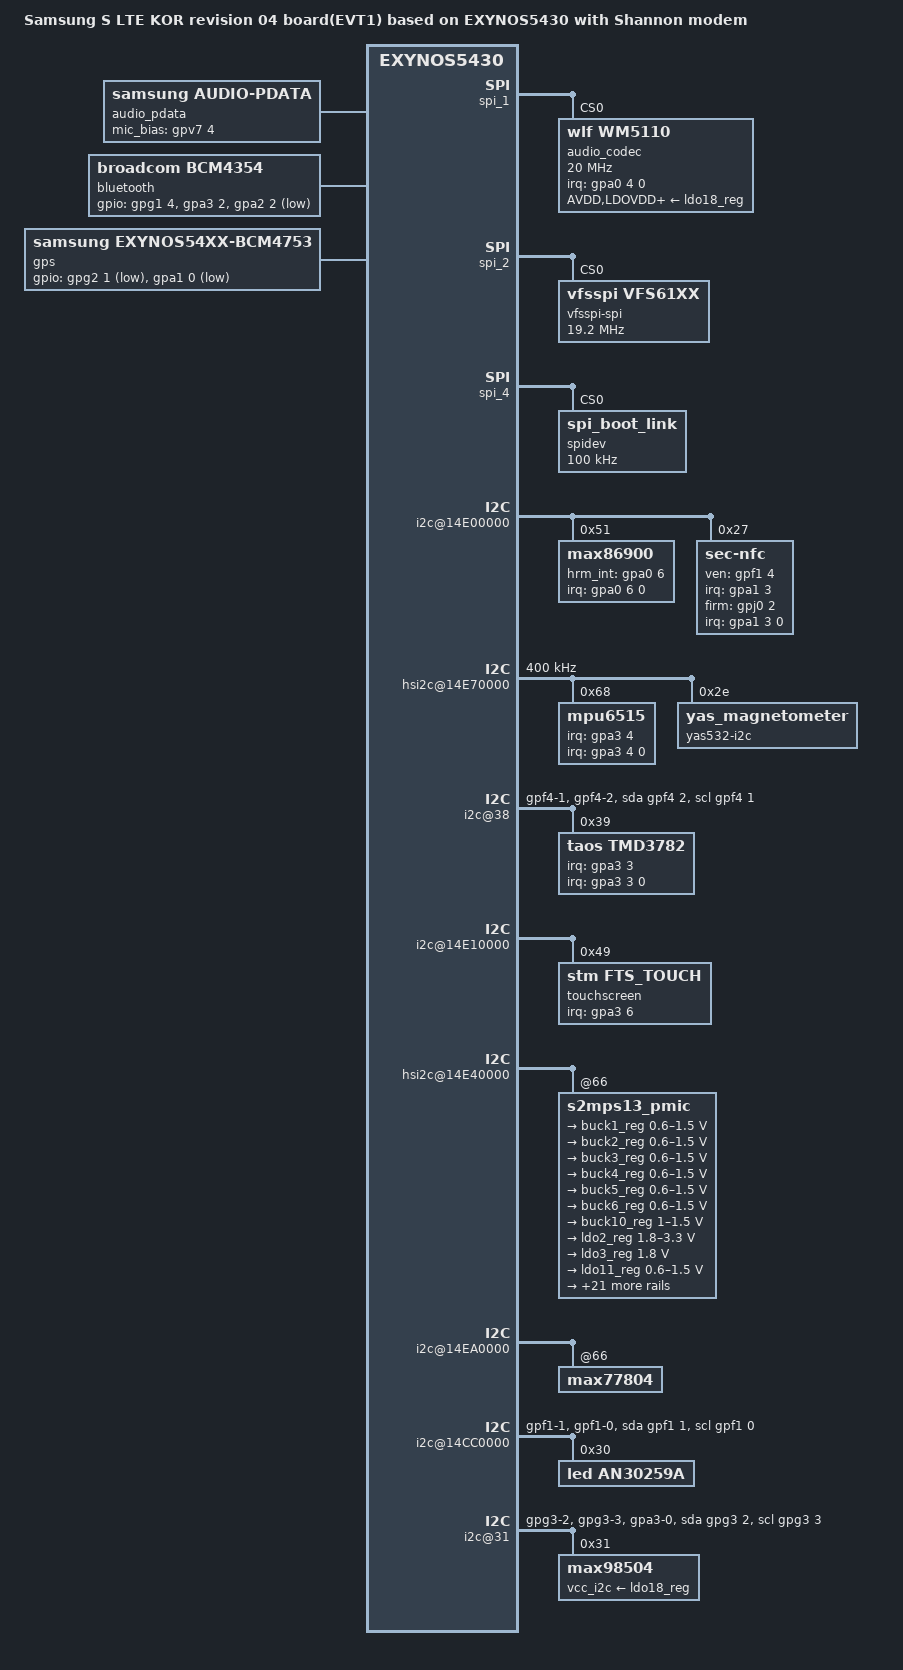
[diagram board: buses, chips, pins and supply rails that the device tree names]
/*
 * SAMSUNG UNIVERSAL5430 board device tree source
 *
 * Copyright (c) 2013 Samsung Electronics Co., Ltd.
 *		http://www.samsung.com
 *
 * This program is free software; you can redistribute it and/or modify
 * it under the terms of the GNU General Public License version 2 as
 * published by the Free Software Foundation.
*/

/dts-v1/;
#include "exynos5430-s_common.dtsi"
#include "exynos5430-s_gpio_03.dtsi"
#include "exynos5430-s_battery.dtsi"
#include "exynos5430-s_kor_gpio_01.dtsi"
#include "exynos5430-s_kor-modem-ss300.dtsi"

/ {
	model = "Samsung S LTE KOR revision 04 board(EVT1) based on EXYNOS5430 with Shannon modem";
	model_info-chip = <5430>;
	model_info-platform = "slte";
	model_info-subtype = "slte_kor_open";
	model_info-hw_rev = <7>;
	model_info-hw_rev_end = <8>; /* If add new dts file for new hw , it is set to <x>. x is suppored max system revision by this dts */
	compatible = "samsung,S LTE KOR,r04", "samsung,exynos5430";

	dwmmc2@15560000 {
		supports-sdr104-mode;
		vmmc-en-gpio = <&gpf3 4 0x1>;
	};

	pinctrl@14CC0000 {
		mpu_irq: mpu_irq {
			samsung,pins = "gpa3-4";
			samsung,pin-function = <0>;
			samsung,pin-con-pdn = <0>;
			samsung,pin-pud-pdn = <0>;
		};
		uart1_bus: uart1-bus {
			samsung,pins = "gpd1-1", "gpd1-0";
			samsung,pin-function = <2>;
			samsung,pin-pud = <1>;
		};
	};

	pinctrl@14CC0000 {
		spi0_bus: spi0-bus {
			samsung,pin-drv = <3>;
		};
		spi0_cs: spi0-cs {
			samsung,pin-drv = <3>;
		};
	};

	spi_0: spi@14d20000 {
		#address-cells = <1>;
		#size-cells = <0>;
		pinctrl-names = "default";
		pinctrl-0 = <&spi0_bus>;
		pinctrl-1 = <&spi0_cs>;
	};

	spi_1: spi@14d30000 {
		#address-cells = <1>;
		#size-cells = <0>;
		pinctrl-names = "default";
		pinctrl-0 = <&spi1_bus>;

		audio_codec: wm5110@0 {
			compatible = "wlf,wm5110";
			reg = <0x0>;
			spi-max-frequency = <20000000>;
			interrupts = <4 0 0>;
			interrupt-parent = <&gpa0>;

			gpio-controller;
			#gpio-cells = <2>;

			pinctrl-names ="default";
			pinctrl-0 = <&codec_ctrl &codec_irq>;

			wlf,reset = <&gpv7 3 0>;
			wlf,ldoena = <&gpf0 0 0>;
			wlf,init-mic-delay = <30>;
			wlf,micd-detect-debounce = <300>;
			wlf,micd-pol-gpio = <0>;
			wlf,micd-bias-start-time = <0x1>;
			wlf,micd-rate = <0x7>;
			wlf,micd-dbtime = <0x1>;
			wlf,micd-timeout = <1000>;
			wlf,micd-force-micbias;
			wlf,hpdet-moisture-imp = <2000>;
			wlf,hpdet-channel = <1>;
			wlf,hpdet-ext-res = <56>;
			wlf,hpdet-short-circuit-imp = <3>;
			wlf,micd-ranges = <
				139 226
				295 115
				752 114
				1257 217
			>;

			wlf,micd-configs = <
				0x0 1 0
			>;

			wlf,micbias1 = <2800 0 1 0 0>;
			wlf,micbias2 = <1800 0 1 0 0>;
			wlf,micbias3 = <1800 0 1 0 0>;

			wlf,gpio-defaults = <
				0xA101
				0xA101
				0xA101
				0xA101
				0x8101
			>;

			wlf,gpsw = <0x3>;
			wlf,use-jd-gpio;
			wlf,jd-gpio-nopull;
			wlf,micd-software-compare;
			wlf,micd-open-circuit-declare = <1>;
			wlf,jd-wake-time = <5000>;

			wlf,max-channels-clocked = <2 0 0>;
			/* 0:MICVDD 1:MICBIAS1 2:MICBIAS2 3:MICBIAS3 */
			wlf,dmic-ref = <0 1 3 0>;
			/* 1st cell:IN1 2rd cell:IN2 3nd cell:IN3 4th cell:IN4 */
			wlf,inmode = <0 0 0 2>;
			/* 1st cell:OUT1 2nd cell:OUT2 3rd cell:OUT3... 6th cell:OUT6 */
			wlf,out-mono = <0 1 1 0 0 0>;

			AVDD-supply = <&ldo18_reg>;
			LDOVDD-supply = <&ldo18_reg>;
			DBVDD1-supply = <&ldo18_reg>;

			CPVDD-supply = <&ldo18_reg>;
			DBVDD2-supply = <&ldo18_reg>;
			DBVDD3-supply = <&ldo18_reg>;
			SPKVDDL-supply = <&ldo18_reg>;
			SPKVDDR-supply = <&ldo18_reg>;

			adsps {
				#address-cells = <1>;
				#size-cells = <0>;

				adsp@1100 {
					reg = <0x1100>;
					firmware {
						EDAC {
							wlf,wmfw-file = "edac";
							wlf,bin-file = "edac";
						};
						TRACE {
							wlf,wmfw-file = "trace";
							wlf,bin-file = "None";
							wlf,compr-caps = <1 8 0x4 1 8000 16000 24000>;
						};
					};
				};
				adsp@1200 {
					reg = <0x1200>;
					firmware {
						TX_NB {
							wlf,wmfw-file = "tx-nb";
							wlf,bin-file = "None";
						};
						TX_WB {
							wlf,wmfw-file = "tx-wb";
							wlf,bin-file = "None";
						};
						TX_SWB_INTERVIEW {
							wlf,wmfw-file = "tx-swb";
							wlf,bin-file = "None";
						};
						TX_SWB_CONVERSATION {
							wlf,wmfw-file = "tx-swb";
							wlf,bin-file = "None";
						};
					};
				};
				adsp@1300 {
					reg = <0x1300>;
					firmware {
						TX_NB {
							wlf,wmfw-file = "tx-nb";
							wlf,bin-file = "tx-nb";
						};
						TX_WB {
							wlf,wmfw-file = "tx-wb";
							wlf,bin-file = "tx-wb";
						};
						TX_SWB_INTERVIEW {
							wlf,wmfw-file = "tx-swb";
							wlf,bin-file = "tx-swb-interview";
						};
						TX_SWB_CONVERSATION {
							wlf,wmfw-file = "tx-swb";
							wlf,bin-file = "tx-swb-conversation";
						};
						VOICECONTROL {
							wlf,wmfw-file = "ez2-control";
							wlf,bin-file = "ez2-control";
						};
						LPSD {
							wlf,wmfw-file = "ez2-control";
							wlf,bin-file = "lpsd-control";
						};
					};
				};
				adsp@1400 {
					reg = <0x1400>;
					firmware {
						DSM {
							wlf,wmfw-file = "dsm";
							wlf,bin-file = "None";
						};
						RX_NB {
							wlf,wmfw-file = "rx-anc-nb";
							wlf,bin-file = "rx-anc-nb";
						};
						RX_WB {
							wlf,wmfw-file = "rx-anc-wb";
							wlf,bin-file = "rx-anc-wb";
						};
					};
				};
			};
			controller-data {
				cs-gpio = <&gpd6 3 0>;
				samsung,spi-feedback-delay = <0>;
			};
		};
	};

	pinctrl@10580000 {
		btp_irq: btp-irq {
			samsung,pins = "gpa1-7";
			samsung,pin-function = <0>;
			samsung,pin-pud = <1>;
			samsung,pin-drv = <3>;
		};
		btp_irqsleep: btp-irqsleep {
			samsung,pins = "gpa1-7";
			samsung,pin-function = <0>;
			samsung,pin-pud = <1>;
		};
		btp_irqidle: btp-irqidle {
			samsung,pins = "gpa1-7";
			samsung,pin-function = <0xf>;
			samsung,pin-pud = <3>;
		};
	};
	pinctrl@14CC0000 {
		ocp_flag: ocf-flag {
			samsung,pins = "gpf0-3";
			samsung,pin-function = <0>;
			samsung,pin-pud = <3>;
			samsung,pin-drv = <3>;
		};
		ocp_en: ocp-en {
			samsung,pins = "gpd4-1";
			samsung,pin-function = <1>;
			samsung,pin-pud = <1>;
			samsung,pin-drv = <0>;
		};
		btp_reset: btp-reset {
			samsung,pins = "gpf5-2";
			samsung,pin-function = <1>;
			samsung,pin-pud = <1>;
			samsung,pin-drv = <0>;
		};
		btp_ldo: btp-ldo {
			samsung,pins = "gpf4-0";
			samsung,pin-function = <1>;
			samsung,pin-pud = <1>;
			samsung,pin-drv = <0>;
		};
		btp_ldo2: btp-ldo2 {
			samsung,pins = "gpv7-0";
			samsung,pin-function = <1>;
			samsung,pin-pud = <1>;
			samsung,pin-drv = <0>;
		};
		spi2_bus: spi2-bus {
			samsung,pin-drv = <3>;
		};
		spi2_cs: spi2-cs {
			samsung,pin-drv = <3>;
		};
		spi2_bus_di: spi2-bus-di {
			samsung,pins = "gpd5-0", "gpd5-2", "gpd5-3";
			samsung,pin-function = <2>;
			samsung,pin-pud = <1>;
		};
		spi2_cs_di: spi2-cs-di {
			samsung,pins = "gpd5-1";
			samsung,pin-function = <1>;
			samsung,pin-pud = <1>;
		};
	};
	spi_2: spi@14d40000 {
		/delete-property/ dma-mode;
		/delete-property/ dmas;
		/delete-property/ dma-names;
		#address-cells = <1>;
		#size-cells = <0>;
		pinctrl-names = "default", "idle";
		pinctrl-0 = <&spi2_bus &spi2_cs>;
		pinctrl-1 = <&spi2_bus_di &spi2_cs_di>;

		vfsspi-spi@0 {
			compatible = "vfsspi,vfs61xx";
			reg = <0>;
			spi-max-frequency = <19200000>;
			pinctrl-names = "default", "sleep", "idle";
			pinctrl-0 = <&btp_irq &btp_reset &btp_ldo &ocp_flag &ocp_en &btp_ldo2>;
			pinctrl-1 = <&btp_irqsleep>;
			pinctrl-2 = <&btp_irqidle>;

			gpio-controller;
			#gpio-cells = <2>;

			vfsspi-sleepPin = <&gpf5 2 0x00>;
			vfsspi-drdyPin = <&gpa1 7 0x00>;
			vfsspi-ldoPin = <&gpf4  0 0x00>;
			vfsspi-ldoPin2 = <&gpv7	0 0x00>;
			vfsspi-ocpen = <&gpd4  1 0x00>;
			/* vfsspi-ocpflag = <&gpf0 3 0x00>; */
			vfsspi-orient = <1>;
			vfsspi-ldocontrol = <1>;
			vfsspi-irqpincon = <2>; /* 1: K3G(5422), 2: KQ(5430) */

			controller-data {
				cs-gpio = <&gpd5 1 0 0 3>;
				samsung,spi-feedback-delay = <0>;
			};
		};
	};

	spi_4: spi@141b0000 {
		fimc-is-spi;
		domain = "cam1";
		samsung,power-domain = <&pd_cam1>;

		#address-cells = <1>;
		#size-cells = <0>;

		spidev@0 {
			#address-cells = <1>;
			#size-cells = <1>;
			compatible = "spi_boot_link";
			reg = <0x0>;
			spi-max-frequency = <100000>;

			controller-data {
				samsung,spi-feedback-delay = <0>;
				samsung,spi-chip-select-mode = <1>;
			};
		};
	};

	mipi-lli@10F24000 {
		reg = <0x10F24000 0x4000>,
		      <0x10F34000 0x4000>,
		      <0x10FD0000 0x2000>,
		      <0x105C0720 0x4>;
	};

	audio_pdata {
		compatible = "samsung,audio-pdata";

		mic_bias_gpio = <&gpv7 4 0>;
		status = "okay";
	};

	pinctrl@14CC0000 {
		codec_ctrl: codec-ctl {
			samsung,pins ="gpv7-3", "gpv7-4", "gpf0-0";
			samsung,pin-con-pdn =<3>;
		};
		max98504_i2c: max98504-i2c {
			samsung,pins ="gpg3-2", "gpg3-3";
			samsung,pin-pud =<0>;
		};

	};

	pinctrl@10580000 {
		codec_irq: codec-irq {
			samsung,pins = "gpa0-4";
			samsung,pin-pud = <3>;
		};

		max98504_ctrl: max98504-ctl {
			samsung,pins ="gpa3-0";
			samsung,pin-function = <0>;
			samsung,pin-pud = <0>;
			samsung,pin-con-pdn =<2>;
			samsung,pin-pud-pdn = <0>;
		};
	};

	i2c@14E00000 {
		samsung,i2c-sda-delay = <100>;
		samsung,i2c-max-bus-freq = <400000>;
		#address-cells = <1>;
		#size-cells = <0>;
		status = "okay";

		max86900@51 {
			compatible = "max86900";
			reg = <0x51>;
			pinctrl-names = "default";
			pinctrl-0 = <&hrm_int>;
			interrupt-parent = <&gpa0>;
			interrupts = <6 0 0>;
			max86900,hrm_int-gpio = <&gpa0 6 0x00>;
		};

		sec-nfc@27 {
			compatible = "sec-nfc";
			reg = <0x27>;

			interrupts = <3 0 0>;
			interrupt-parent = <&gpa1>;

			sec-nfc,ven-gpio = <&gpf1 4 0>;
			sec-nfc,irq-gpio = <&gpa1 3 0>;
			sec-nfc,firm-gpio = <&gpj0 2 0>;
		};
	};

	hsi2c@14E70000 {
		samsung,hs-mode;
		clock-frequency = <400000>;
		status = "okay";

		mpu6515@68 {
			compatible = "mpu6515";
			reg = <0x68>;
			pinctrl-names = "default";
			pinctrl-0 = <&mpu_irq>;
			interrupt-parent = <&gpa3>;
			interrupts = <4 0 0>;
			invensense,irq-gpio= <&gpa3 4 0>;
			invensense,int_config = <0x00>;
			invensense,level_shifter = <0>;
			invensense,orientation = <7>;
		};

		yas532-i2c@2e {
			compatible = "yas_magnetometer";
			reg = <0x2e>;
			yas,orientation = <0>;
		};
	};

	pinctrl@14CC0000 {
		sensor2_i2c: sensor2-i2c {
			samsung,pins ="gpf4-1", "gpf4-2";
			samsung,pin-pud =<0>;
		};
	};

	i2c@38 {
		cell-index = <38>;
		compatible = "i2c-gpio";
		gpios = <&gpf4 2 0
		&gpf4 1 0
		>;
		i2c-gpio,delay-us = <2>;
		#address-cells = <1>;
		#size-cells = <0>;
		pinctrl-names ="default";
		pinctrl-0 = <&sensor2_i2c>;
		status = "okay";

 		tmd3782@39 {
			compatible = "taos,tmd3782";
			reg = <0x39>;
			interrupts = <3 0 0>;
			interrupt-parent = <&gpa3>;
			taos,irq_gpio = <&gpa3 3 0>;
		};
	};

	pinctrl@10580000 {
		attn_irq: attn-irq {
			samsung,pins = "gpa3-6";
			samsung,pin-function = <0xf>;
			samsung,pin-pud = <0>;
			samsung,pin-drv = <0>;
		};
		attn_input: attn-input {
			samsung,pins = "gpa3-6";
			samsung,pin-function = <0>;
			samsung,pin-pud = <1>;
			samsung,pin-drv = <0>;
		};
	};

	pinctrl@14CE0000 {
		i2c1_bus: i2c1-bus {
			samsung,pins = "gpj1-1", "gpj1-0";
			samsung,pin-function = <3>;
			samsung,pin-pud = <0>;
			samsung,pin-drv = <0>;
		};
		i2c_pdn_off: i2c-pdn_off {
			samsung,pins = "gpj1-1", "gpj1-0";
			samsung,pin-con-pdn = <2>;
			samsung,pin-pud-pdn = <1>;
		};
	};

	i2c@14E10000 {
		samsung,i2c-sda-delay = <100>;
		samsung,i2c-max-bus-freq = <400000>;
		status = "okay";
		touchscreen@49{
			compatible = "stm,fts_touch";
			reg = <0x49>;
			pinctrl-names = "on_state", "off_state";
			pinctrl-0 = <&attn_irq>;
			pinctrl-1 = <&attn_input &i2c_pdn_off>;
			stm,irq_gpio = <&gpa3 6 0>;
			stm,irq_type = <8200>;
			stm,max_coords = <719 1279>;	/* x y */
			stm,regulator_dvdd = "tsp_io";
			stm,regulator_avdd = "tsp_avdd";
			stm,project_name = "SLTE", "G850";
			stm,firmware_name = "tsp_stm/stm_s_sync.fw";
		};
	};

	hsi2c@14E40000 {
		s2mps13_pmic@66 {
			check_jigon = <1>; /* check jigon */
			regulators {
				buck1_reg: BUCK1 {
					regulator-name = "vdd_mif";
					regulator-min-microvolt = <600000>;
					regulator-max-microvolt = <1500000>;
					regulator-always-on;
					regulator-boot-on;
					regulator-ramp-delay = <12000>;
					regulator-initial-mode = <1>;
				};

				buck2_reg: BUCK2 {
					regulator-name = "vdd_eagle";
					regulator-min-microvolt = <600000>;
					regulator-max-microvolt = <1500000>;
					regulator-always-on;
					regulator-boot-on;
					regulator-ramp-delay = <12000>;
					regulator-initial-mode = <1>;
				};

				buck3_reg: BUCK3 {
					regulator-name = "vdd_kfc";
					regulator-min-microvolt = <600000>;
					regulator-max-microvolt = <1500000>;
					regulator-always-on;
					regulator-boot-on;
					regulator-ramp-delay = <12000>;
					regulator-initial-mode = <1>;
				};

				buck4_reg: BUCK4 {
					regulator-name = "vdd_int";
					regulator-min-microvolt = <600000>;
					regulator-max-microvolt = <1500000>;
					regulator-always-on;
					regulator-boot-on;
					regulator-ramp-delay = <12000>;
					regulator-initial-mode = <1>;
				};

				buck5_reg: BUCK5 {
					regulator-name = "vdd_disp_cam0";
					regulator-min-microvolt = <600000>;
					regulator-max-microvolt = <1500000>;
					regulator-always-on;
					regulator-boot-on;
					regulator-ramp-delay = <12000>;
					regulator-initial-mode = <1>;
				};

				buck6_reg: BUCK6 {
					regulator-name = "vdd_g3d";
					regulator-min-microvolt = <600000>;
					regulator-max-microvolt = <1500000>;
					regulator-always-on;
					regulator-boot-on;
					regulator-ramp-delay = <12000>;
					regulator-initial-mode = <1>;
				};

				buck10_reg: BUCK10 {
					regulator-name = "COMP_PMIC";
					regulator-min-microvolt = <1000000>;
					regulator-max-microvolt = <1500000>;
					regulator-ramp-delay = <12000>;
				};

				ldo2_reg: LDO2 {
					regulator-name = "vqmmc";
					regulator-min-microvolt = <1800000>;
					regulator-max-microvolt = <3300000>;
					regulator-boot-on;
					regulator-ramp-delay = <12000>;
					regulator-initial-mode = <1>;
				};

				ldo3_reg: LDO3 {
					regulator-name = "VDD1_E_1.8V_AP";
					regulator-min-microvolt = <1800000>;
					regulator-max-microvolt = <1800000>;
					regulator-always-on;
					regulator-initial-mode = <3>;
				};

				ldo11_reg: LDO11 {
					regulator-name = "vdd_int_m";
					regulator-min-microvolt = <600000>;
					regulator-max-microvolt = <1500000>;
					regulator-always-on;
					regulator-boot-on;
					regulator-ramp-delay = <12000>;
					regulator-initial-mode = <1>;
				};

				ldo18_reg: LDO18 {
					regulator-name = "VCC_1.8V_CODEC_PMIC";
					regulator-min-microvolt = <1800000>;
					regulator-max-microvolt = <1800000>;
					regulator-always-on;
					regulator-boot-on;
				};

				ldo19_reg: LDO19 {
					regulator-name = "VDDA_1.8V_COMP";
					regulator-min-microvolt = <1800000>;
					regulator-max-microvolt = <1800000>;
				};

				ldo21_reg: LDO21 {
					regulator-name = "VT_CAM_1.8V";
					regulator-min-microvolt = <1800000>;
					regulator-max-microvolt = <1800000>;
				};

				ldo22_reg: LDO22 {
					regulator-name = "CAM_IO_1.8V_AP";
					regulator-min-microvolt = <1800000>;
					regulator-max-microvolt = <1800000>;
				};

				ldo23_reg: LDO23 {
					regulator-name = "CAM_SEN_CORE_1.2V_AP";
					regulator-min-microvolt = <1200000>;
					regulator-max-microvolt = <1200000>;
				};

				ldo24_reg: LDO24 {
					regulator-name = "VT_CAM_1.2V";
					regulator-min-microvolt = <1200000>;
					regulator-max-microvolt = <1200000>;
				};

				ldo25_reg: LDO25 {
					regulator-name = "CAM_SEN_A2.8V_AP";
					regulator-min-microvolt = <2800000>;
					regulator-max-microvolt = <2950000>;
				};

				ldo26_reg: LDO26 {
					regulator-name = "CAM_AF_2.8V_AP";
					regulator-min-microvolt = <2800000>;
					regulator-max-microvolt = <2800000>;
				};

				ldo27_reg: LDO27 {
					regulator-name = "VCC_3.0V_LCD_AP";
					regulator-min-microvolt = <3000000>;
					regulator-max-microvolt = <3000000>;
					regulator-boot-on;
				};

				ldo28_reg: LDO28 {
					regulator-name = "VCC_1.8V_LCD_AP";
					regulator-min-microvolt = <1800000>;
					regulator-max-microvolt = <1800000>;
					regulator-boot-on;
				};

				ldo29_reg: LDO29 {
					regulator-name = "VT_CAM_2.8V";
					regulator-min-microvolt = <2800000>;
					regulator-max-microvolt = <2800000>;
				};

				ldo30_reg: LDO30 {
					regulator-name = "tsp_avdd";
					regulator-min-microvolt = <3300000>;
					regulator-max-microvolt = <3300000>;
				};

				ldo31_reg: LDO31 {
					regulator-name = "tsp_io";
					regulator-min-microvolt = <1800000>;
					regulator-max-microvolt = <1800000>;
				};

				ldo32_reg: LDO32 {
					regulator-name = "vtouch_1.8v";
					regulator-min-microvolt = <1800000>;
					regulator-max-microvolt = <1800000>;
					regulator-boot-on;
				};

				ldo33_reg: LDO33 {
					regulator-name = "vtouch_3.3v";
					regulator-min-microvolt = <3300000>;
					regulator-max-microvolt = <3300000>;
				};

				ldo34_reg: LDO34 {
					regulator-name = "V_HRM_1.8V";
					regulator-min-microvolt = <1800000>;
					regulator-max-microvolt = <1800000>;
				};

				ldo35_reg: LDO35 {
					regulator-name = "GES_LED_3P3";
					regulator-min-microvolt = <3300000>;
					regulator-max-microvolt = <3300000>;
				};

				ldo36_reg: LDO36 {
					regulator-name = "VDD_MIPI_1.0V_COMP";
					regulator-min-microvolt = <1000000>;
					regulator-max-microvolt = <1000000>;
				};

				ldo38_reg: LDO38 {
					regulator-name = "VCC_3.0V_MOTOR_AP";
					regulator-min-microvolt = <3000000>;
					regulator-max-microvolt = <3000000>;
				};

				ldo39_reg: LDO39 {
					regulator-name = "VCC_1.8V_PERI";
					regulator-min-microvolt = <1800000>;
					regulator-max-microvolt = <1800000>;
					regulator-always-on;
				};

				ldo40_reg: LDO40 {
					regulator-name = "V_HRM_3.3V";
					regulator-min-microvolt = <3300000>;
					regulator-max-microvolt = <3300000>;
				};
			};
		};
	};

	pinctrl@14CC0000 {
		vibetonz_pwm: vibetonz-pwm {
		      samsung,pins = "gpd2-4";
		      samsung,pin-function = <2>;
		      samsung,pin-pud = <0>;
		      samsung,pin-drv = <0>;
	      };
	};
	i2c@14EA0000 {
		samsung,i2c-sda-delay = <100>;
		samsung,i2c-max-bus-freq = <400000>;
		status = "okay";
		max77804@66 {
			status = "okay";
		};
		max77828@49 {
			status = "disabled";
		};
	};

	pinctrl@114B0000 {
		uart_aud_rts: uart-aud-rts {
			samsung,pins = "gpz1-3";
			samsung,pin-function = <2>;
			samsung,pin-pud = <0>;
			samsung,pin-con-pdn = <1>;
			samsung,pin-pud-pdn = <0>;
		};

		uart_aud_cts: uart-aud-cts {
			samsung,pins = "gpz1-2";
			samsung,pin-function = <2>;
			samsung,pin-pud = <0>;
			samsung,pin-con-pdn = <2>;
			samsung,pin-pud-pdn = <0>;
		};

		uart_aud_rx: uart-aud-rx {
			samsung,pins = "gpz1-1";
			samsung,pin-function = <2>;
			samsung,pin-pud = <0>;
			samsung,pin-con-pdn = <2>;
			samsung,pin-pud-pdn = <0>;
		};

		uart_aud_tx: uart-aud-tx {
			samsung,pins = "gpz1-0";
			samsung,pin-function = <2>;
			samsung,pin-pud = <0>;
			samsung,pin-con-pdn = <1>;
			samsung,pin-pud-pdn = <0>;
		};
	};

	serial@11460000 {
		pinctrl-0 = <&uart_aud_rts &uart_aud_cts &uart_aud_rx &uart_aud_tx>;
		pinctrl-1 = <&uart_aud_rx &uart_aud_tx &uart_aud_bus_idle>;
	};

/*
			samsung,pins = "gpa0-0";

			samsung,pin-function = <2>;
			0 : input, 1 : output 2 : special_function

			samsung,pin-pud = <0>;
			0 : reserved 1 : pull down 2 : reserved 3 : pull up

			samsung,pin-con-pdn = <2>;
			0 : output0 1 : output1 2: input 3: previous state

			samsung,pin-pud-pdn = <0>;
			0 : pull up/down disable 1 : pull down 2 : reserved 3 : pull up
*/

	pinctrl@14CC0000 {
		cfg_en: cfg-en {
			samsung,pins ="gpg1-4";
			samsung,pin-function = <1>;
			samsung,pin-pud = <1>;
			samsung,pin-con-pdn = <3>;
			samsung,pin-pud-pdn = <1>;
		};
	};

	pinctrl@10580000{
		cfg_hostwake: cfg-hostwake {
			samsung,pins = "gpa2-2";
			samsung,pin-function = <0>;
			samsung,pin-pud = <2>;
			samsung,pin-con-pdn = <2>;
			samsung,pin-pud-pdn = <0>;
		};

		cfg_btwake: cfg-btwake {
			samsung,pins = "gpa3-2";
			samsung,pin-function = <1>;
			samsung,pin-pud = <1>;
			samsung,pin-con-pdn = <0>;
			samsung,pin-pud-pdn = <1>;
		};
	};

	pinctrl@14CC0000 {
		pin_ctrl: pin-ctrl {
			samsung,pins ="gpf1-1", "gpf1-0";
			samsung,pin-pud =<0>;
		};
	};

	i2c@14CC0000 {
		compatible = "i2c-gpio";
		gpios = <&gpf1 1 0 /* sda */
			&gpf1 0 0 /* scl */
			>;
		i2c-gpio,delay-us = <2>;
		#address-cells = <1>;
		#size-cells = <0>;
		pinctrl-names = "default";
		pinctrl-0 = <&pin_ctrl>;
		status = "okay";
		an30259a@30 {
			compatible = "led,an30259a";
			reg = <0x30>;
			rgb-name = "led_r", "led_g", "led_b";
			rgb-brightness = <0x0 0x0 0x0>;
			rgb-maxbrightness = <0x28 0x28 0x28>;
			rgb-flags = <0 0 0>;
		};
	};

	bluetooth {
		compatible = "broadcom,bcm4354";

		gpios = <&gpg1 4 0	/*BT_EN*/
				&gpa3 2 0	/*BT_WAKE*/
				&gpa2 2 0xF	/*BT_HOST_WAKE*/ >;

		pinctrl-names = "default";
		pinctrl-0=<&cfg_hostwake &cfg_btwake &cfg_en>;
		status = "okay";
	};

	pinctrl@14CC0000 {
		uart0_rts: uart0-rts {
			samsung,pins = "gpd0-3";
			samsung,pin-function = <2>;
			samsung,pin-pud = <0>;
			samsung,pin-con-pdn = <1>;
			samsung,pin-pud-pdn = <0>;
		};

		uart0_cts: uart0-cts {
			samsung,pins = "gpd0-2";
			samsung,pin-function = <2>;
			samsung,pin-pud = <0>;
			samsung,pin-con-pdn = <2>;
			samsung,pin-pud-pdn = <1>;
		};

		uart0_tx: uart0-tx {
			samsung,pins = "gpd0-1";
			samsung,pin-function = <2>;
			samsung,pin-pud = <0>;
			samsung,pin-con-pdn = <2>;
			samsung,pin-pud-pdn = <3>;
		};

		uart0_rx: uart0-rx {
			samsung,pins = "gpd0-0";
			samsung,pin-function = <2>;
			samsung,pin-pud = <3>;
			samsung,pin-con-pdn = <2>;
			samsung,pin-pud-pdn = <3>;
		};
	};

	serial@14C10000 {
		pinctrl-0 = <&uart0_rts &uart0_cts &uart0_tx &uart0_rx>;
	};

	gps {
		compatible = "samsung,exynos54xx-bcm4753";
		gpios = <&gpg2 1 0x1
			      &gpa1 0 0xf
				>;
		status = "okay";
	};

	i2c@31 {
		compatible = "i2c-gpio";
		gpios = <&gpg3 2 0 /* sda */
			&gpg3 3 0 /* scl */
			>;
		i2c-gpio,delay-us = <2>;
		#address-cells = <1>;
		#size-cells = <0>;
		pinctrl-names = "default";
		pinctrl-0 = <&max98504_i2c &max98504_ctrl>;
		status = "okay";
		max98504@31 {
			compatible = "max98504";
			reg = <0x31>;
			vcc_i2c-supply = <&ldo18_reg>;
			max98504,rx_mode = <1>;
			max98504,tx_mode = <1>;
			max98504,cfg_data = <0 0 0 0 0 3 0 2 0 0>;
		};
	};

	fimc_is_companion@14180000 {
		/delete-property/ gpios_cam_en;
	};
};
